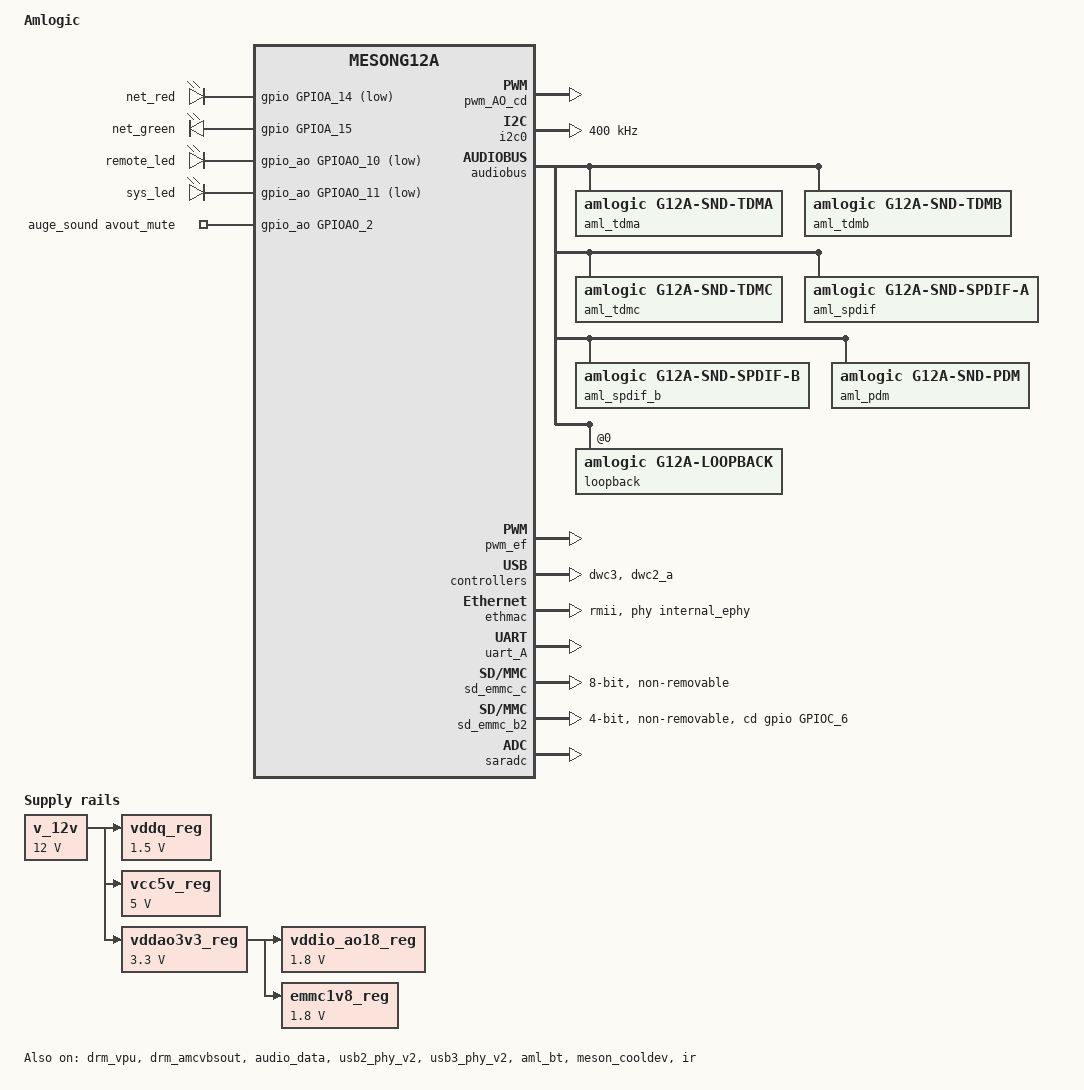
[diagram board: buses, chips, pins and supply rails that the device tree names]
// SPDX-License-Identifier: (GPL-2.0+ OR MIT)
/*
 * Copyright (c) 2019 Amlogic, Inc. All rights reserved.
 */

/dts-v1/;

#include "mesong12a.dtsi"
#include "partition_mbox_normal_dynamic.dtsi"
#include "mesong12a_drm.dtsi"
/ {
	model = "Amlogic";
	amlogic-dt-id = "g12a_u212_2g";
	compatible = "amlogic, g12a";
	interrupt-parent = <&gic>;
	#address-cells = <2>;
	#size-cells = <2>;

	aliases {
		serial0 = &uart_AO;
		serial1 = &uart_A;
		serial2 = &uart_B;
		serial3 = &uart_C;
		serial4 = &uart_AO_B;
		tsensor0 = &p_tsensor;
		tsensor1 = &d_tsensor;
		i2c0 = &i2c0;
		i2c1 = &i2c1;
		i2c2 = &i2c2;
		i2c3 = &i2c3;
		i2c4 = &i2c_AO;
		spi0 = &spicc0;
		spi1 = &spicc1;
	};

	memory@0 {
		device_type = "memory";
		linux,usable-memory = <0x0 0x000000 0x0 0x80000000>;
	};

	reserved-memory {
		#address-cells = <2>;
		#size-cells = <2>;
		ranges;

		ramdump_bl33z@0 {
			reg = <0x0 0x0 0x0 0x1800000>; /* 0 ~ 24M */
			status = "disabled";
		};

		/* global autoconfigured region for contiguous allocations */
		ramoops@7400000 {
			compatible = "ramoops";
			reg = <0x0 0x07400000 0x0 0x00080000>;/* addr set in uboot */
			record-size = <0x30000>;
			console-size = <0x40000>;
			ftrace-size = <0x0>;
			pmsg-size = <0x10000>;
		};

		dmc_reserved:linux,dmc_monitor {
			compatible = "amlogic,dmc_monitor-reserved";
			reg = <0x0 0x0 0x0 0x80000>;
		};

		debug_reserved:linux,iotrace {
			compatible = "amlogic, iotrace";
			reg = <0x0 0x04f00000 0x0 0x00100000>;
			io-size = <0x1b000>;
			sched-size = <0x2000>;
			irq-size = <0x1000>;
			smc-size = <0x1000>;
			misc-size = <0x1000>;
		};
		defendkey_reserved:linux,defendkey {
			compatible = "amlogic, defendkey";
			reg = <0x0 0x04e00000 0x0 0x100000>;
		};
		secmon_reserved:linux,secmon {
			compatible = "shared-dma-pool";
			/*reusable;*/
			no-map;
			size = <0x0 0x400000>;
			alignment = <0x0 0x400000>;
			alloc-ranges = <0x0 0x05000000 0x0 0x2400000>;
		};

		logo_reserved:linux,meson-fb {
			compatible = "amlogic, meson-fb";
			alignment = <0x0 0x400000>;
			reg = <0x0 0x7f800000 0x0 0x800000>;
		};
		ion_cma_reserved:linux,ion-dev {
			compatible = "shared-dma-pool";
			reusable;
			size = <0x0 0x0>;
			alignment = <0x0 0x400000>;
		};
		ion_fb_reserved:linux,ion-fb {
			compatible = "shared-dma-pool";
			reusable;
			size = <0x0 0x0>;
			alignment = <0x0 0x400000>;
		};
		bl40_fw_reserved:linux,bl40 {
			compatible = "amlogic, mfh";
			size = <0x0 0x0080000>;
			reg = <0x0 0x41000000  0x0 0x0080000>;
		};
		dmaheap_fb_reserved:heap-fb {
			compatible = "shared-dma-pool";
			reusable;
			/* 1080p STB android16 size 56M */
			size = <0x0 0x3800000>;
			alignment = <0x0 0x400000>;
		};
		dmaheap_cma_reserved:heap-gfx {
			compatible = "shared-dma-pool";
			reusable;
			/* 1080p STB android16 size 88M */
			size = <0x0 0x5800000>;
			alignment = <0x0 0x400000>;
		};
		dmaheap_secure_reserved:heap-secure {
			compatible = "amlogic, heap-secure-mem";
			no-map;
			size = <0x0 0x0>;
			alignment = <0x0 0x400000>;
		};
		//di_reserved:linux,di {
			//compatible = "amlogic, di-mem";
			/* buffer_size = 3621952(yuv422 8bit) */
			/* 4179008(yuv422 10bit full pack mode) */
			/** 10x3621952=34.6M(0x23) support 8bit **/
			/** 10x4736064=45.2M(0x2e) support 12bit **/
			/** 10x4179008=40M(0x28) support 10bit **/
			//size = <0x0 0x2800000>;
			//no-map;
		//};
		/*di CMA pool */
		di_cma_reserved:linux,di_cma {
			compatible = "shared-dma-pool";
			reusable;
			/* buffer_size = 3621952(yuv422 8bit)
			 *  | 4736064(yuv422 10bit)
			 *  | 4074560(yuv422 10bit full pack mode)
			 * 10x3621952=34.6M(0x23) support 8bit
			 * 10x4736064=45.2M(0x2e) support 12bit
			 * 10x4074560=40M(0x28) support 10bit
			 */
			//size = <0x0 0x02800000>;
			//alignment = <0x0 0x400000>;
		};
		/*  POST PROCESS MANAGER */
		ppmgr_reserved:linux,ppmgr {
			compatible = "shared-dma-pool";
			size = <0x0 0x0>;
		};

		codec_mm_cma:linux,codec_mm_cma {
			compatible = "shared-dma-pool";
			reusable;
			/* ion_codec_mm max can alloc size 80M*/
			size = <0x0 0x13400000>;
			alignment = <0x0 0x400000>;
			linux,contiguous-region;
		};
		/* codec shared reserved */
		codec_mm_reserved:linux,codec_mm_reserved {
			compatible = "amlogic, codec-mm-reserved";
			size = <0x0 0x0>;
			alignment = <0x0 0x100000>;
			//no-map;
		};
		/*  vdin1 CMA pool */
		vdin1_cma_reserved:linux,vdin1_cma {
			compatible = "shared-dma-pool";
			reusable;
			/* up to 1920x1080 yuv422 8bit and 5 buffers
			 * 1920x1080x2x5 = 20 M
			 */
			size = <0x0 0x00c00000>;
			alignment = <0x0 0x400000>;
		};
	};

	gpioleds {
		compatible = "gpio-leds";
		status = "okay";

		net_red {
			label="net_red";
			gpios=<&gpio GPIOA_14 GPIO_ACTIVE_LOW>;
			default-state ="on";
		};

		net_green {
			label="net_green";
			gpios=<&gpio GPIOA_15 GPIO_ACTIVE_HIGH>;
			default-state ="on";
		};

		remote_led {
			label = "remote_led";
			gpios = <&gpio_ao GPIOAO_10 GPIO_ACTIVE_LOW>;
			default-state = "off";
			linux,default-trigger = "rc_feedback";
		};

		sys_led {
			label="sys_led";
			gpios=<&gpio_ao GPIOAO_11 GPIO_ACTIVE_LOW>;
			default-state ="on";
		};
	};

	multi-di {
		compatible = "amlogic, dim-g12a";
		status = "okay";
		/* 0:use reserved; 1:use cma; 2:use cma as reserved */
		flag_cma = <4>;	//<1>;
		//memory-region = <&di_reserved>;
		//memory-region = <&di_cma_reserved>;
		interrupts = <0 46 1
				0 40 1>;
		interrupt-names = "pre_irq", "post_irq";
		clocks = <&clkc CLKID_VPU_CLKB>,
			<&clkc CLKID_VPU>;
		clock-names = "vpu_clkb",
			"vpu_mux";
		clock-range = <334 667>;
		/* buffer-size = <3621952>;(yuv422 8bit) */
		buffer-size = <4074560>;/*yuv422 fullpack*/
		/* reserve-iomap = "true"; */
		/* if enable nr10bit, set nr10bit-support to 1 */
		post-wr-support = <1>;
		nr10bit-support = <1>;
		nrds-enable = <1>;
		pps-enable = <1>;
	};

	/* dvb-extern {
	 * compatible = "amlogic, dvb-extern";
	 * dev_name = "dvb-extern";
	 * status = "disabled";

	 * fe_num = <1>;
	 * fe0_mode = "external";
	 * fe0_demod = "Atbm8881";
	 * fe0_i2c_adap_id = <&i2c2>;
	 * fe0_demod_i2c_addr = <0xc0>;
	 * fe0_ts = <1>;
	 * fe0_reset_value = <0>;
	 * fe0_reset_gpio = <&gpio GPIOZ_1 GPIO_ACTIVE_HIGH>;
	 * };
	 */

	dvb-demux {
		compatible = "amlogic, dvb-demux";
		dev_name = "dvb-demux";
		status = "okay";

		dmx =<&demux>;

		ts1 = "parallel";
		ts1_control = <0>;
		ts1_invert = <0>;
		pinctrl-names = "p_ts1";
		pinctrl-0 = <&dvb_p_ts1_pins>;

		clocks = <&clkc CLKID_DEMUX
		&clkc CLKID_AHB_ARB0
		&clkc CLKID_PARSER>;
		clock-names = "demux", "ahbarb0", "parser_top";
	};

	/*this just for U212-D814(dual demod)*/
	/* dvb-extern {
	 *   compatible = "amlogic, dvb-extern";
	 *   dev_name = "dvb-extern";
	 *   status = "disabled";

	 *   tuner_num = <4>;
	 *   tuner0_name = "si2151_tuner";
	 *   tuner0_i2c_addr = <0x61>;//dvb-t addr
	 *   tuner0_code = <0x2151>;

	 *   tuner1_name = "av2018_tuner";
	 *   tuner1_i2c_addr = <0x62>;//dvb-s addr
	 *   tuner1_code = <0xA2018>;

	 *   tuner2_name = "si2151_tuner";
	 *   tuner2_i2c_addr = <0x62>;//dvb-t addr
	 *   tuner2_code = <0x2151>;

	 *   tuner3_name = "av2018_tuner";
	 *   tuner3_i2c_addr = <0x63>;//dvb-s addr
	 *   tuner3_code = <0xA2018>;

	 *   fe_num = <2>;
	 *   fe0_demod = "Si2168";
	 *   fe0_i2c_adap_id = <&i2c2>;
	 *   fe0_demod_i2c_addr = <0x64>;
	 *   fe0_ts = <1>;
	 *   fe0_reset_value = <0>;
	 *   fe0_reset_gpio = <&gpio GPIOZ_1 GPIO_ACTIVE_HIGH>;
	 *   fe0_tuner0 = <0>; // demod internal T/C tuner
	 *   fe0_tuner1 = <1>; // demod internal S/S2 tuner

	 *   fe1_demod = "Si2168";
	 *   fe1_i2c_adap_id = <&i2c2>;
	 *   fe1_demod_i2c_addr = <0x67>;
	 *   fe1_ts = <0>;
	 *   fe1_reset_value = <0>;
	 *   fe1_reset_gpio = <&gpio GPIOZ_0 GPIO_ACTIVE_HIGH>;
	 *   fe1_tuner0 = <2>; // demod internal T/C tuner
	 *   fe1_tuner1 = <3>; // demod internal S/S2 tuner
	 * };
	 */

	/* demux {
	 *   compatible = "amlogic, dvb-demux";
	 *   dev_name = "dvb-demux";

	 *   ts1 = "parallel";
	 *   ts1_control = <0>;
	 *   ts1_invert = <0>;

	 *   ts0 = "serial";
	 *   ts0_control = <0x800>;
	 *   ts0_invert = <0>;

	 *   interrupts = <0 23 1
	 *   0 5 1
	 *   0 21 1
	 *   0 19 1
	 *   0 25 1
	 *   0 18 1
	 *   0 24 1>;
	 *   interrupt-names = "demux0_irq",
	 *   "demux1_irq",
	 *   "demux2_irq",
	 *   "dvr0_irq",
	 *   "dvr1_irq",
	 *   "dvrfill0_fill",
	 *   "dvrfill1_flush";
	 *   pinctrl-names = "s_ts0","p_ts1";
	 *   pinctrl-0 = <&dvb_s_ts0_pins>;
	 *   pinctrl-1 = <&dvb_p_ts1_pins>;

	 *   clocks = <&clkc CLKID_DEMUX
	 *   &clkc CLKID_AHB_ARB0
	 *   &clkc CLKID_DOS_PARSER>;
	 *   clock-names = "demux", "ahbarb0", "parser_top";
	 * };
	 */

	v_12v: fixed@v_12v {
		compatible = "regulator-fixed";
		regulator-name = "v_12v";
		regulator-min-microvolt = <12000000>;
		regulator-max-microvolt = <12000000>;
		regulator-always-on;
	};

	vddq_reg: fixed@vddq_reg{
		compatible = "regulator-fixed";
		vin-supply = <&v_12v>;
		regulator-name = "VDDQ1.5V";
		regulator-min-microvolt = <1500000>;
		regulator-max-microvolt = <1500000>;
		regulator-boot-on;
		regulator-always-on;
	};

	vcc5v_reg: fixed@v_5v_reg{
		compatible = "regulator-fixed";
		vin-supply = <&v_12v>;
		regulator-name = "VCC5V";
		regulator-min-microvolt = <5000000>;
		regulator-max-microvolt = <5000000>;
		// VCC5V_EN (GPIOH_8-Hiz OD)
		//gpio = <&gpio_ao GPIOH_8 GPIO_ACTIVE_HIGH>;
		startup-delay-us = <70000>;
		enable-active-high;
		regulator-boot-on;
		regulator-always-on;
	};

	vddao3v3_reg: fixed@vddao3v3_reg{
		vin-supply = <&v_12v>;
		compatible = "regulator-fixed";
		regulator-name = "VDDAO_3.3V";
		regulator-min-microvolt = <3300000>;
		regulator-max-microvolt = <3300000>;
		regulator-boot-on;
		regulator-always-on;
	};

	vddio_ao18_reg: fixed@vddio_ao18_reg{
		compatible = "regulator-fixed";
		vin-supply = <&vddao3v3_reg>;
		regulator-name = "VDDIO_AO18";
		regulator-min-microvolt = <1800000>;
		regulator-max-microvolt = <1800000>;
		regulator-boot-on;
		//regulator-always-on;
	};

	emmc1v8_reg: fixed@emmc1v8_reg{
		compatible = "regulator-fixed";
		vin-supply = <&vddao3v3_reg>;
		regulator-name = "EMMC_1V8";
		regulator-min-microvolt = <1800000>;
		regulator-max-microvolt = <1800000>;
		regulator-boot-on;
		//regulator-always-on;
	};

	auge_sound {
		compatible = "amlogic, auge-sound-card";
		aml-audio-card,name = "AML-AUGESOUND";

		aml-audio-card,aux-devs = <&amlogic_codec>;
		/*avout mute gpio*/
		avout_mute-gpios = <&gpio_ao GPIOAO_2 GPIO_ACTIVE_HIGH>;
		/*for audio effect ,eqdrc */
		aml-audio-card,effect = <&audio_effect>;

		aml-audio-card,dai-link@0 {
			format = "dsp_a";
			mclk-fs = <512>;
			//continuous-clock;
			//bitclock-inversion;
			//frame-inversion;
			//bitclock-master = <&tdmacodec>;
			//frame-master = <&tdmacodec>;
			/* suffix-name, sync with android audio hal
			 * what's the dai link used for
			 */
			suffix-name = "alsaPORT-pcm";
			tdmacpu: cpu {
				sound-dai = <&aml_tdma>;
				dai-tdm-slot-tx-mask =
							<1 1 1 1 1 1 1 1>;
				dai-tdm-slot-rx-mask =
							<1 1 1 1 1 1 1 1>;
				dai-tdm-slot-num = <8>;
				dai-tdm-slot-width = <32>;
				system-clock-frequency = <24576000>;
			};
			tdmacodec: codec {
				sound-dai = <&dummy_codec &dummy_codec>;
			};
		};

		aml-audio-card,dai-link@1 {
			format = "i2s";// "dsp_a";
			mclk-fs = <256>;
			//continuous-clock;
			//bitclock-inversion;
			//frame-inversion;
			bitclock-master = <&aml_tdmb>;
			frame-master = <&aml_tdmb>;
			//bitclock-master = <&tdmbcodec>;
			//frame-master = <&tdmbcodec>;
			/* suffix-name, sync with android audio hal
			 * what's the dai link used for
			 */
			suffix-name = "alsaPORT-i2s";
			cpu {
				sound-dai = <&aml_tdmb>;
				dai-tdm-slot-tx-mask = <1 1>;
				dai-tdm-slot-rx-mask = <1 1>;
				dai-tdm-slot-num = <2>;
				/*
				 * dai-tdm-slot-tx-mask =
				 *	<1 1 1 1 1 1 1 1>;
				 * dai-tdm-slot-rx-mask =
				 *	<1 1 1 1 1 1 1 1>;
				 * dai-tdm-slot-num = <8>;
				 */
				dai-tdm-slot-width = <32>;
				system-clock-frequency = <12288000>;
			};
			tdmbcodec: codec {
				sound-dai = <&dummy_codec &dummy_codec
					&amlogic_codec>;
			};
		};

		aml-audio-card,dai-link@2 {
			format = "i2s";
			mclk-fs = <256>;
			//continuous-clock;
			//bitclock-inversion;
			//frame-inversion;
			bitclock-master = <&aml_tdmc>;
			frame-master = <&aml_tdmc>;
			/* suffix-name, sync with android audio hal
			 * what's the dai link used for
			 */
			//suffix-name = "alsaPORT-tdm";
			cpu {
				sound-dai = <&aml_tdmc>;
				dai-tdm-slot-tx-mask = <1 1>;
				dai-tdm-slot-rx-mask = <1 1>;
				dai-tdm-slot-num = <2>;
				dai-tdm-slot-width = <32>;
				system-clock-frequency = <12288000>;
			};
			codec {
				sound-dai = <&dummy_codec &dummy_codec>;
			};
		};

		aml-audio-card,dai-link@3 {
			mclk-fs = <64>;
			/* suffix-name, sync with android audio hal
			 * what's the dai link used for
			 */
			suffix-name = "alsaPORT-pdm-builtinmic";
			cpu {
				sound-dai = <&aml_pdm>;
			};
			codec {
				sound-dai = <&pdm_codec>;
			};
		};

		aml-audio-card,dai-link@4 {
			mclk-fs = <128>;
			continuous-clock;
			/* suffix-name, sync with android audio hal
			 * what's the dai link used for
			 */
			suffix-name = "alsaPORT-spdif";
			cpu {
				sound-dai = <&aml_spdif>;
				system-clock-frequency = <6144000>;
			};
			codec {
				sound-dai = <&dummy_codec>;
			};
		};
		/* spdif_b to hdmi, only playback */
		aml-audio-card,dai-link@5 {
			mclk-fs = <128>;
			continuous-clock;
			/* suffix-name, sync with android audio hal
			 * what's the dai link used for
			 */
			suffix-name = "alsaPORT-spdifb";
			cpu {
				sound-dai = <&aml_spdif_b>;
				system-clock-frequency = <6144000>;
			};
			codec {
				sound-dai = <&dummy_codec>;
			};
		};

		aml-audio-card,dai-link@6 {
			mclk-fs = <256>;
			continuous-clock;
			suffix-name = "alsaPORT-loopback";
			cpu {
				sound-dai = <&loopback>;
				system-clock-frequency = <12288000>;
			};
			codec {
				sound-dai = <&dummy_codec>;
			};
		};

		/*
		 * dai link for i2s to hdmix,
		 * Notice to select a tdm lane not used by hw
		 */
		/*
		 * aml-audio-card,dai-link@6 {
		 * format = "i2s";
		 * mclk-fs = <256>;
		 * //continuous-clock;
		 * //bitclock-inversion;
		 * //frame-inversion;
		 * bitclock-master = <&aml_i2s2hdmi>;
		 * frame-master = <&aml_i2s2hdmi>;
		 * suffix-name = "alsaPORT-i2s2hdmi";
		 * cpu {
		 * sound-dai = <&aml_i2s2hdmi>;
		 * dai-tdm-slot-tx-mask = <1 1>;
		 * dai-tdm-slot-num = <2>;
		 * dai-tdm-slot-width = <32>;
		 * system-clock-frequency = <12288000>;
		 * };
		 * codec {
		 * sound-dai = <&dummy_codec>;
		 * };
		 * };
		 */
	};
}; /* end of / */

&fb {
	status = "disabled";
	display_size_default = <1920 1080 1920 2160 32>;
	mem_size = <0x00800000 0x1980000 0x100000 0x100000 0x800000>;
	logo_addr = "0x7f800000";
	mem_alloc = <0>;
	pxp_mode = <0>; /** 0:normal mode 1:pxp mode */
};

&pwm_AO_cd {
		status = "okay";
};

&i2c0 {
	status = "okay";
	pinctrl-names="default";
	pinctrl-0=<&i2c0_master_pins2>;
	clock-frequency = <400000>;

	gt9xx@5d {
		compatible = "goodix,gt9xx";
		status = "disabled";
		reg = <0x5d>;
		reset-gpio = <&gpio GPIOZ_9 0x00>;
		irq-gpio = <&gpio GPIOZ_3 0x00>;
	};

	ftxx@38 {
		compatible = "focaltech,fts";
		status = "disabled";
		reg = <0x38>;
		reset-gpio = <&gpio GPIOZ_9 0x00>;
		irq-gpio = <&gpio GPIOZ_3 0x00>;
		x_max = <600>;
		y_max = <1024>;
		max-touch-number = <10>;
	};
};

/*
 *if use i2c2_master_pins2
 *please disable internal_eth_pins
 *in case pinmux conflict
 */
/*&i2c2 {
 *	status = "okay";
 *	pinctrl-names="default";
 *	pinctrl-0=<&i2c2_master_pins2>;
 *	clock-frequency = <300000>;
 *};
 */

&i2c3 {
	status = "disabled";
	pinctrl-names="default";
	pinctrl-0=<&i2c3_master_pins2>;
	clock-frequency = <100000>; /* default 100k */

	/* for ref board */
	ad82584f_62: ad82584f_62@31 {
		compatible = "ESMT, ad82584f";
		#sound-dai-cells = <0>;
		reg = <0x31>;
		status = "disabled";
		reset_pin = <&gpio GPIOA_5 0>;
	};

	tas5707_36: tas5707_36@1b {
		compatible = "ti,tas5707";
		#sound-dai-cells = <0>;
		reg = <0x1b>;
		status = "disabled";
		reset_pin = <&gpio GPIOA_5 0>;
	};

	bl_extern_i2c: bl_extern_i2c@2c {
		compatible = "amlogic, bl_extern_i2c";
		status = "disabled";
		reg = <0x2c>; /*reg_address for lp8556*/
		dev_name = "lp8556";
	};
};

&audiobus {
	aml_tdma: tdma {
		compatible = "amlogic, g12a-snd-tdma";
		#sound-dai-cells = <0>;
		dai-tdm-lane-slot-mask-in = <0 1>;
		dai-tdm-oe-lane-slot-mask-out = <1 0>;
		dai-tdm-clk-sel = <0>;
		clocks = <&clkaudio CLKID_AUDIO_MCLK_A
				&clkc CLKID_MPLL0>;
		clock-names = "mclk", "clk_srcpll";
		pinctrl-names = "tdm_pins";
		pinctrl-0 = <&tdmout_a &tdmin_a>;
	};

	aml_tdmb: tdmb {
		compatible = "amlogic, g12a-snd-tdmb";
		#sound-dai-cells = <0>;
		dai-tdm-lane-slot-mask-in = <0 1 0 0>;
		dai-tdm-lane-slot-mask-out = <1 0 0 0>;
		dai-tdm-clk-sel = <1>;
		clocks = <&clkaudio CLKID_AUDIO_MCLK_B
				&clkc CLKID_MPLL1
				&clkc CLKID_MPLL0
				&clkaudio CLKID_AUDIO_SPDIFOUT_CTRL>;
		clock-names = "mclk", "clk_srcpll",
			"samesource_srcpll", "samesource_clk";
		pinctrl-names = "tdm_pins";
		pinctrl-0 = <&tdmb_mclk &tdmout_b &tdmin_b>;
		mclk_pad = <0>;  /* 0: mclk_0; 1: mclk_1 */
		/*
		 * 0: tdmout_a;
		 * 1: tdmout_b;
		 * 2: tdmout_c;
		 * 3: spdifout;
		 * 4: spdifout_b;
		 */
		samesource_sel = <3>;
		/*enable default mclk(12.288M), before extern codec start*/
		start_clk_enable = <1>;

		/*tdm clk tuning enable*/
		clk_tuning_enable = <1>;
	};

	aml_tdmc: tdmc {
		compatible = "amlogic, g12a-snd-tdmc";
		#sound-dai-cells = <0>;
		dai-tdm-lane-slot-mask-in = <0 1 0 0>;
		#dai-tdm-lane-slot-mask-out = <1 0 1 1>;
		#dai-tdm-lane-oe-slot-mask-in = <0 0 0 0>;
		dai-tdm-lane-oe-slot-mask-out = <1 0 0 0>;
		dai-tdm-clk-sel = <2>;
		clocks = <&clkaudio CLKID_AUDIO_MCLK_C
				&clkc CLKID_MPLL2>;
		clock-names = "mclk", "clk_srcpll";
		pinctrl-names = "tdm_pins";
		pinctrl-0 = <&tdmc_mclk &tdmout_c &tdmin_c>;
		mclk_pad = <1>;  /* 0: mclk_0; 1: mclk_1 */
	};

	tdmlb: tdm@3 {
		compatible = "amlogic, g12a-snd-tdmlb";
		#sound-dai-cells = <0>;
		dai-tdm-lane-lb-slot-mask-in = <1 0 0 0>;
		dai-tdm-clk-sel = <1>;
		clocks = <&clkaudio CLKID_AUDIO_MCLK_B
				&clkc CLKID_MPLL1>;
		clock-names = "mclk", "clk_srcpll";
		/*
		 * select tdmin_lb src;
		 *0: TDMOUTA
		 *1: TDMOUTB
		 *2: TDMOUTC
		 *3: PAD_TDMINA
		 *4: PAD_TDMINB
		 *5: PAD_TDMINC
		 */
		lb-src-sel = <1>;

		status = "disabled";
	};

	/* copy a useless tdm to output for hdmi, no pinmux */
	aml_i2s2hdmi: i2s2hdmi {
		compatible = "amlogic, g12a-snd-tdmc";
		#sound-dai-cells = <0>;
		dai-tdm-lane-slot-mask-out = <1 1 1 1>;
		dai-tdm-clk-sel = <2>;
		clocks = <&clkaudio CLKID_AUDIO_MCLK_C
				&clkc CLKID_MPLL2>;
		clock-names = "mclk", "clk_srcpll";

		i2s2hdmi = <1>;

		status = "disabled";
	};

	aml_spdif: spdif {
		compatible = "amlogic, g12a-snd-spdif-a";
		#sound-dai-cells = <0>;
		clocks = <&clkc CLKID_MPLL0
				&clkc CLKID_FCLK_DIV4
				&clkaudio CLKID_AUDIO_SPDIFIN
				&clkaudio CLKID_AUDIO_SPDIFOUT
				&clkaudio CLKID_AUDIO_SPDIFIN_CTRL
				&clkaudio CLKID_AUDIO_SPDIFOUT_CTRL>;
		clock-names = "sysclk", "fixed_clk", "gate_spdifin",
				"gate_spdifout", "clk_spdifin", "clk_spdifout";
		interrupts =
				<GIC_SPI 151 IRQ_TYPE_EDGE_RISING>;

		interrupt-names = "irq_spdifin";
		pinctrl-names = "spdif_pins",
				"spdif_pins_mute";
		pinctrl-0 = <&spdifout>;
		pinctrl-1 = <&spdifout_a_mute>;
		status = "okay";
		/*spdif clk tuning enable*/
		clk_tuning_enable = <1>;
	};
	aml_spdif_b: spdif_b {
		compatible = "amlogic, g12a-snd-spdif-b";
		#sound-dai-cells = <0>;
		clocks = <&clkc CLKID_MPLL0 /*CLKID_HIFI_PLL*/
				&clkaudio CLKID_AUDIO_SPDIFOUTB
				&clkaudio CLKID_AUDIO_SPDIFOUTB_CTRL>;
		clock-names = "sysclk",
				"gate_spdifout", "clk_spdifout";
		status = "okay";
	};
	aml_pdm: pdm {
		compatible = "amlogic, g12a-snd-pdm";
		#sound-dai-cells = <0>;
		clocks = <&clkaudio CLKID_AUDIO_PDM
			&clkc CLKID_FCLK_DIV3
			&clkc CLKID_MPLL3
			&clkaudio CLKID_AUDIO_PDMIN0
			&clkaudio CLKID_AUDIO_PDMIN1>;
		clock-names = "gate",
			"sysclk_srcpll",
			"dclk_srcpll",
			"pdm_dclk",
			"pdm_sysclk";
		pinctrl-names = "pdm_pins";
		pinctrl-0 = <&pdmin>;
		filter_mode = <1>; /* mode 0~4, defalut:1 */
		status = "okay";
	};

	loopback:loopback@0 {
		compatible = "amlogic, g12a-loopback";
		#sound-dai-cells = <0>;

		clocks = <&clkaudio CLKID_AUDIO_PDM
			&clkc CLKID_FCLK_DIV3
			&clkc CLKID_MPLL3
			&clkaudio CLKID_AUDIO_PDMIN0
			&clkaudio CLKID_AUDIO_PDMIN1
			&clkc CLKID_MPLL0
			&clkaudio CLKID_AUDIO_MCLK_A>;
		clock-names = "pdm_gate",
			"pdm_sysclk_srcpll",
			"pdm_dclk_srcpll",
			"pdm_dclk",
			"pdm_sysclk",
			"tdminlb_mpll",
			"tdminlb_mclk";

		/* datain src
		 * 0: tdmin_a;
		 * 1: tdmin_b;
		 * 2: tdmin_c;
		 * 3: spdifin;
		 * 4: pdmin;
		 */
		datain_src = <4>;
		datain_chnum = <4>;
		datain_chmask = <0xf>;
		/* config which data pin for loopback */
		datain-lane-mask-in = <1 0 1 0>;

		/* calc mclk for datalb */
		mclk-fs = <256>;

		/* tdmin_lb src
		 * 0: tdmoutA
		 * 1: tdmoutB
		 * 2: tdmoutC
		 * 3: PAD_TDMINA_DIN*, refer to core pinmux
		 * 4: PAD_TDMINB_DIN*, refer to core pinmux
		 * 5: PAD_TDMINC_DIN*, refer to core pinmux
		 * 6: PAD_TDMINA_D*, oe, refer to core pinmux
		 * 7: PAD_TDMINB_D*, oe, refer to core pinmux
		 */
		/* if tdmin_lb >= 3, use external loopback */
		datalb_src = <1>;
		datalb_chnum = <2>;
		datalb_chmask = <0x3>;
		/* config which data pin as loopback */
		datalb-lane-mask-in = <1 0 0 0>;

		status = "okay";
	};

	audioresample: resample {
		compatible = "amlogic, g12a-resample";
		clocks = <&clkc CLKID_MPLL3
				&clkaudio CLKID_AUDIO_MCLK_F
				&clkaudio CLKID_AUDIO_RESAMPLE_CTRL>;
		clock-names = "resample_pll", "resample_src", "resample_clk";
		/*same with toddr_src
		 *	TDMIN_A, 0
		 *	TDMIN_B, 1
		 *	TDMIN_C, 2
		 *	SPDIFIN, 3
		 *	PDMIN,  4
		 *	NONE,
		 *	TDMIN_LB, 6
		 *	LOOPBACK, 7
		 */
		resample_module = <4>;
		status = "disabled";
	};
	aml_pwrdet: pwrdet {
		compatible = "amlogic, g12a-power-detect";

		interrupts = <GIC_SPI 155 IRQ_TYPE_EDGE_RISING>;
		interrupt-names = "pwrdet_irq";

		/* pwrdet source sel
		 * 7: loopback;
		 * 6: tdmin_lb;
		 * 5: reserved;
		 * 4: pdmin;
		 * 3: spdifin;
		 * 2: tdmin_c;
		 * 1: tdmin_b;
		 * 0: tdmin_a;
		 */
		pwrdet_src = <4>;

		hi_th = <0x70000>;
		lo_th = <0x16000>;

		status = "disabled";
	};
}; /* end of audiobus */

&pinctrl_periphs {
	tdmout_a: tdmout_a {
		mux { /* GPIOX_11, GPIOX_10, GPIOX_9 */
			groups = "tdm_a_sclk",
				"tdm_a_fs",
				"tdm_a_dout0";
			function = "tdm_a";
		};
	};

	tdmin_a: tdmin_a {
		mux { /* GPIOX_8 */
			groups = "tdm_a_din1";
			function = "tdm_a";
		};
	};

	tdmb_mclk: tdmb_mclk {
		mux {
			groups = "mclk0_a";
			function = "mclk0";
			drive-strength = <2>;
		};
	};
	tdmout_b: tdmout_b {
		mux { /* GPIOA_1, GPIOA_2, GPIOA_3 */
			groups = "tdm_b_sclk",
				"tdm_b_fs",
				"tdm_b_dout0";
			function = "tdm_b";
			drive-strength = <2>;
		};
	};

	tdmin_b:tdmin_b {
		mux { /* GPIOA_4 */
			groups = "tdm_b_din1"
				/*,"tdmb_slv_sclk", "tdmb_slv_fs"*/;
			function = "tdm_b";
			drive-strength = <2>;
		};
	};

	tdmc_mclk: tdmc_mclk {
		mux { /* GPIOA_11 */
			groups = "mclk1_a";
			function = "mclk1";
		};
	};

	tdmout_c:tdmout_c {
		mux { /* GPIOA_12, GPIOA_13, GPIOA_10, GPIOA_8, GPIOA_7*/
			groups = "tdm_c_sclk_a",
				"tdm_c_fs_a",
				"tdm_c_dout0_a"
				/*,	"tdmc_dout2",
				 * "tdmc_dout3"
				 */;
			function = "tdm_c";
		};
	};

	tdmin_c:tdmin_c {
		mux { /* GPIOA_9 */
			groups = "tdm_c_din1_a";
			function = "tdm_c";
		};
	};

	spdifin: spdifin {
		mux {/* GPIOH_5 */
			groups = "spdif_in_h";
			function = "spdif_in";
		};
	};

	/* GPIOH_4 */
	spdifout: spdifout {
		mux {
			groups = "spdif_out_h";
			function = "spdif_out";
		};
	};

	spdifout_a_mute: spdifout_a_mute {
		mux { /* GPIOH_4 */
			groups = "GPIOH_4";
			function = "gpio_periphs";
		};
	};

	pdmin: pdmin {
		mux { /* gpioa_5, gpioa_6, gpioa_7, gpioa_8, gpioa_9*/
			groups = "pdm_din0_a",
			/*"pdm_din1_a",*/
			"pdm_din2_a",
			/*"pdm_din3_a",*/
			"pdm_dclk_a";
			function = "pdm";
		};
	};

};/* end of pinctrl_periphs */
&pinctrl_aobus {
	/*gpiao_10*/
	/*spdifout: spdifout {			  */
	/*	mux {						  */
	/*		groups = "spdif_out_ao";  */
	/*		function = "spdif_out_ao";*/
	/*	};							  */
	/*};							  */

	/*dvb_s_ts0_pins: dvb_s_ts0_pins {*/
	/*	tsin_a{                       */
	/*		groups = "tsin_a_din0_ao",*/
	/*		"tsin_a_clk_ao",          */
	/*		"tsin_a_sop_ao",          */
	/*		"tsin_a_valid_ao";        */
	/*		function = "tsin_a_ao";   */
	/*	};                            */
	/*};                              */

};  /* end of pinctrl_aobus */

&amhdmitx {
	status = "disabled";
};

&drm_vpu {
	status = "okay";
	logo_addr = "0x7f800000";
};

&drm_amcvbsout {
	status = "okay";
};

&audio_data {
	status = "okay";
};

/* Audio Related End */

&pwm_ef {
	status = "okay";
};

&dwc3 {
	status = "okay";
};

&usb2_phy_v2 {
	status = "okay";
	portnum = <2>;
};

&usb3_phy_v2 {
	status = "okay";
	portnum = <1>;
	otg = <0>;
};

&dwc2_a {
	status = "okay";
	/** 0: normal, 1: otg+dwc3 host only, 2: otg+dwc3 device only*/
	controller-type = <1>;
};

&ethmac {
	status = "okay";
	phy-handle = <&internal_ephy>;
	phy-mode = "rmii";
};

&uart_A {
	status = "okay";
};

/*if you want to use vdin just modify status to "ok"*/
&vdin0 {
	/*memory-region = <&vdin0_cma_reserved>;*/
	/* status = "disabled"; */
	/* up to 1920x1080 yuv422 8bit and 5 buffers
	 * 1920x1080x2x5 = 20 M
	 */
	cma_size = <20>;
	/*vdin write mem color depth support:
	 *bit0:support 8bit
	 *bit1:support 9bit
	 *bit2:support 10bit
	 *bit3:support 12bit
	 *bit4:support yuv422 10bit full pack mode (from txl new add)
	 */
	tv_bit_mode = <0x1>;
};

&vdin1 {
	memory-region = <&vdin1_cma_reserved>;
	/* status = "disabled"; */
	/*vdin write mem color depth support:
	 *bit0:support 8bit
	 *bit1:support 9bit
	 *bit2:support 10bit
	 *bit3:support 12bit
	 */
	tv_bit_mode = <1>;
};

&sd_emmc_c {
	status = "okay";
	pinctrl-0 = <&emmc_pins>, <&emmc_ds_pins>;
	pinctrl-1 = <&emmc_clk_gate_pins>;
	pinctrl-names = "default", "clk-gate";

	bus-width = <8>;
	cap-mmc-highspeed;
	mmc-ddr-1_8v;
	mmc-hs200-1_8v;
	max-frequency = <200000000>;
	non-removable;
	disable-wp;

//	mmc-pwrseq = <&emmc_pwrseq>;
//	vmmc-supply = <&vddao_3v3>;
//	vqmmc-supply = <&vddao_1v8>;
};

//&sd_emmc_b1 {
//	status = "disabled";
//	sd {
//		pinctrl-0 = <&sdcard_pins>;
//		pinctrl-1 = <&sdcard_clk_gate_pins>;
//		pinctrl-2 = <&sd_1bit_pins>;
//
//		pinctrl-names = "sd_default",
//				"clk-gate",
//				"sd_1bit_pins";
//		cd-gpios = <&gpio GPIOC_6 GPIO_ACTIVE_HIGH>;
//
//		bus-width = <4>;
//		cap-sd-highspeed;
//		max-frequency = <200000000>;
//		disable-wp;
//		card_type = <5>;
//		no-sdio;
//		no-mmc;
//	};
//};

&sd_emmc_b2 {
	status = "okay";
	bus-width = <4>;
	cap-sd-highspeed;
	sd-uhs-sdr104;
	max-frequency = <200000000>;
	disable-wp;

	pinctrl-0 = <&sdio_x_clr_pins &sdcard_pins>;
	pinctrl-1 = <&sdio_x_clr_pins &sdcard_clk_gate_pins>;
	pinctrl-2 = <&sdio_x_clr_pins &sd_1bit_pins>;
	pinctrl-3 = <&sd_clr_all_pins>, <&sdio_x_en_pins>, <&sdio_pins>;
	pinctrl-4 = <&sd_clr_all_pins>, <&sdio_x_en_pins>, <&sdio_clk_gate_pins>;
	pinctrl-names = "sd_default",
			"sd_clk-gate",
			"sd_1bit_pins",
			"default",
			"sdio_clk-gate";

	cd-gpios = <&gpio GPIOC_6 GPIO_ACTIVE_HIGH>;

	cap-sdio-irq;
	non-removable;
	keep-power-in-suspend;

	no-sdio;
	no-mmc;
	no-sd;
};

&nand {
	status = "disabled";
	plat-names = "bootloader","nandnormal";
	plat-num = <2>;
	plat-part-0 = <&bootloader>;
	plat-part-1 = <&nandnormal>;
	bootloader: bootloader{
		enable_pad ="ce0";
		busy_pad = "rb0";
		timming_mode = "mode5";
		bch_mode = "bch8_1k";
		t_rea = <20>;
		t_rhoh = <15>;
		chip_num = <1>;
		part_num = <0>;
		rb_detect = <1>;
	};
	nandnormal: nandnormal{
		enable_pad ="ce0";
		busy_pad = "rb0";
		timming_mode = "mode5";
		bch_mode = "bch8_1k";
		plane_mode = "twoplane";
		t_rea = <20>;
		t_rhoh = <15>;
		chip_num = <2>;
		part_num = <3>;
		partition = <&nand_partitions>;
		rb_detect = <1>;
	};
	nand_partitions:nand_partition{
		/*
		 * if bl_mode is 1, tpl size was generate by
		 * fip_copies * fip_size which
		 * will not skip bad when calculating
		 * the partition size;
		 *
		 * if bl_mode is 0,
		 * tpl partition must be comment out.
		 */
		tpl{
			offset=<0x0 0x0>;
			size=<0x0 0x0>;
		};
		logo{
			offset=<0x0 0x0>;
			size=<0x0 0x200000>;
		};
		recovery{
			offset=<0x0 0x0>;
			size=<0x0 0x1000000>;
		};
		boot{
			offset=<0x0 0x0>;
			size=<0x0 0x1000000>;
		};
		system{
			offset=<0x0 0x0>;
			size=<0x0 0x4000000>;
		};
		data{
			offset=<0xffffffff 0xffffffff>;
			size=<0x0 0x0>;
		};
	};
};

&aml_wifi{
	status = "disabled";
	interrupt-gpios = <&gpio  GPIOX_7  GPIO_ACTIVE_HIGH>;
	power_on-gpios = <&gpio   GPIOX_6  GPIO_ACTIVE_HIGH>;
};

&aml_bt {
	status = "okay";
	reset-gpios = <&gpio    GPIOX_17 GPIO_ACTIVE_HIGH>;
	hostwake-gpios = <&gpio GPIOX_19 GPIO_ACTIVE_HIGH>;
};

&pcie_A {
	reset-gpio = <&gpio GPIOX_7 GPIO_ACTIVE_HIGH>;
	status = "disable";
};

&meson_cooldev {
	status = "okay";
};

&saradc {
	status = "okay";
};

&ir {
	status = "okay";
	pinctrl-0 = <&remote_pins>;
	pinctrl-names = "default";
};

&spicc0 {
	status = "disabled";
	pinctrl-names = "default";
	pinctrl-0 = <&spicc0_pins_c>;
	cs-gpios = <&gpio GPIOC_2 GPIO_ACTIVE_HIGH>;
};

&chosen {
		bootargs = "swiotlb=noforce";
};
